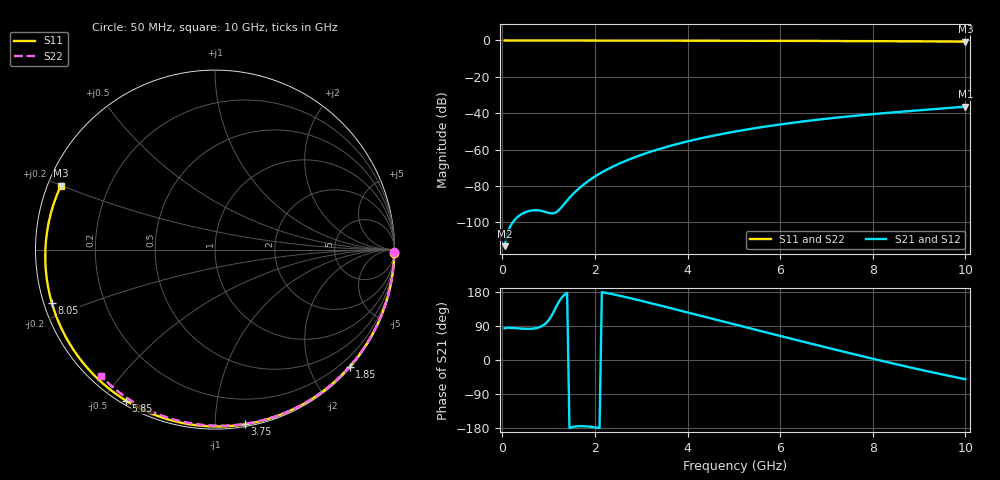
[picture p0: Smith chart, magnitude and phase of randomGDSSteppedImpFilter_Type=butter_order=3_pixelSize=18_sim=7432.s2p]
! freq	dB(S11)	phase(S11)	dB(S12)	phase(S12)
!  dB(S21)	phase(S21)	dB(S22)	phase(S22)
!S-par simulation data
#  GHz  S  DB  R 50
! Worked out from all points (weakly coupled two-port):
!   200 points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, 50 MHz to 10 GHz, reference 50 ohm
!   highest |S21| = -36.39 dB at 10 GHz (marker M1); lowest = -113.1 dB at 50 MHz (marker M2)
!   lowest |S11| = -0.6 dB at 10 GHz (marker M3), VSWR 27.43, Z = 1.9 + j9.95 ohm
!   |S11| at or under -10 dB: nowhere
!   |S22| runs from -0.5 to 0.0 dB; largest |S21 - S12| = 0
!   S11 on the Smith chart (normalised r, x): 50 MHz: open; 1.85 GHz: 0.02, -2.68; 3.75 GHz: 0.01, -1.18; 5.85 GHz: 0.02, -0.57; 8.05 GHz: 0.02, -0.16; 10 GHz: 0.04, +0.20
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0.05  -0.01 -1.1  -113.13 83.4  -113.13 83.4  -0.01 -0.7
0.45  -0.02 -10.1  -95.01 82.5  -95.01 82.5  -0.01 -6.8
0.85  -0.02 -19.1  -93.76 89.1  -93.76 89.1  -0.02 -12.9
1.25  -0.03 -27.9  -92.54 158.9  -92.54 158.9  -0.02 -18.9
1.7  -0.05 -37.8  -80.38 -174.5  -80.38 -174.5  -0.03 -25.6
1.75  -0.05 -38.8  -79.34 -174.6  -79.34 -174.6  -0.03 -26.3
1.85  -0.05 -41.0  -77.41 -175.5  -77.41 -175.5  -0.04 -27.8
2.15  -0.06 -47.4  -72.53 179.2  -72.53 179.2  -0.04 -32.2
2.5  -0.07 -54.8  -68.02 170.5  -68.02 170.5  -0.05 -37.3
2.9  -0.08 -63.1  -63.85 159.2  -63.85 159.2  -0.06 -43.0
3.4  -0.10 -73.3  -59.62 144.1  -59.62 144.1  -0.07 -50.1
3.75  -0.11 -80.3  -57.12 133.3  -57.12 133.3  -0.07 -55.0
4.4  -0.13 -93.1  -53.20 113.1  -53.20 113.1  -0.09 -63.8
5.05  -0.16 -105.5  -49.99 92.8  -49.99 92.8  -0.11 -72.5
5.85  -0.21 -120.5  -46.74 68.1  -46.74 68.1  -0.14 -82.8
6.7  -0.26 -136.3  -43.91 42.1  -43.91 42.1  -0.18 -93.4
7.4  -0.32 -149.3  -41.96 21.0  -41.96 21.0  -0.22 -101.9
8.05  -0.39 -161.8  -40.40 1.9  -40.40 1.9  -0.26 -109.6
8.35  -0.42 -167.6  -39.75 -6.8  -39.75 -6.8  -0.29 -113.1
9.2  -0.52 175.1  -38.04 -30.2  -38.04 -30.2  -0.37 -123.0
9.6  -0.58 166.4  -37.24 -40.7  -37.24 -40.7  -0.41 -127.6
10  -0.63 157.4  -36.39 -50.7  -36.39 -50.7  -0.47 -132.1
